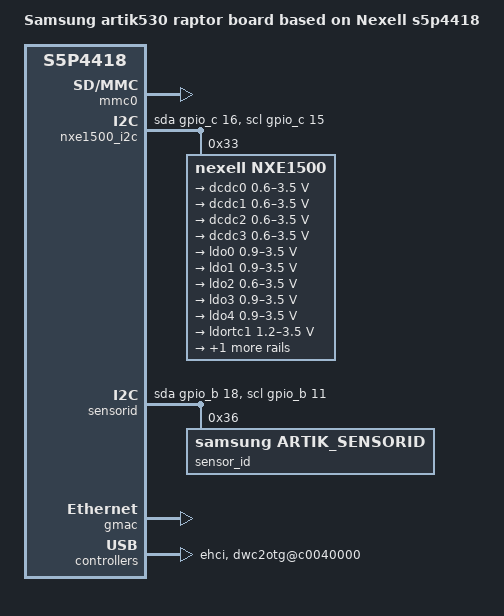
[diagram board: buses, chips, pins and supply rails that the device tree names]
/*
 * (C) Copyright 2016 Nexell
 * Hyunseok, Jung <hsjung@nexell.co.kr>
 *
 * SPDX-License-Identifier:      GPL-2.0+
 */

#include "s5p4418-artik530.dtsi"

/ {
	model = "Samsung artik530 raptor board based on Nexell s5p4418";
	cpu-model = "S5p4418";

	compatible = "samsung,artik530-raptor", "samsung,artik530",
		   "nexell,s5p4418";

	mmc0:mmc@c0062000 {
		frequency = <50000000>;
		nexell,drive_dly = <0x0>;
		nexell,drive_shift = <0x03>;
		nexell,sample_dly = <0x00>;
		nexell,sample_shift = <0x02>;
		status = "okay";
	};

	nxe1500_i2c:i2c@1 {
		compatible = "i2c-gpio";
		#address-cells = <1>;
		#size-cells = <0>;
		gpios = <&gpio_c 16 0>,	/* SDA */
		      <&gpio_c 15 0>;	/* SCL */
		i2c-gpio,delay-us = <3>;
		status ="okay";

		nxe1500@33 {
			compatible = "nexell,nxe1500";
			reg = <0x33>;

			voltage-regulators {
				dcdc0: BUCK0 {
					regulator-name = "dcdc1";
					regulator-min-microvolt = <600000>;
					regulator-max-microvolt = <3500000>;
					regulator-always-on = <1>;
					regulator-boot-on = <1>;
				};

				dcdc1: BUCK1 {
					regulator-name = "dcdc2";
					regulator-min-microvolt = <600000>;
					regulator-max-microvolt = <3500000>;
					regulator-always-on = <1>;
					regulator-boot-on = <1>;
				};

				dcdc2: BUCK2 {
					regulator-name = "dcdc3";
					regulator-min-microvolt = <600000>;
					regulator-max-microvolt = <3500000>;
					regulator-always-on = <1>;
					regulator-boot-on = <1>;
				};

				dcdc3: BUCK3 {
					regulator-name = "dcdc4";
					regulator-min-microvolt = <600000>;
					regulator-max-microvolt = <3500000>;
					regulator-always-on = <1>;
					regulator-boot-on = <1>;
				};

				ldo0: LDO0 {
					regulator-min-microvolt = <900000>;
					regulator-max-microvolt = <3500000>;
					regulator-name = "ldo1";
				};

				ldo1: LDO1 {
					regulator-min-microvolt = <900000>;
					regulator-max-microvolt = <3500000>;
					regulator-name = "ldo2";
				};

				ldo2: LDO2 {
					regulator-min-microvolt = <600000>;
					regulator-max-microvolt = <3500000>;
					regulator-name = "ldo3";
				};

				ldo3: LDO3 {
					regulator-min-microvolt = <900000>;
					regulator-max-microvolt = <3500000>;
					regulator-name = "ldo4";
				};

				ldo4: LDO4 {
					regulator-min-microvolt = <900000>;
					regulator-max-microvolt = <3500000>;
					regulator-name = "ldo5";
				};

				ldortc1: LDO10 {
					regulator-min-microvolt = <1200000>;
					regulator-max-microvolt = <3500000>;
					regulator-name = "ldortc1";
					regulator-always-on = <1>;
					regulator-boot-on = <1>;
				};

				ldortc2: LDO11 {
					regulator-min-microvolt = <900000>;
					regulator-max-microvolt = <3500000>;
					regulator-name = "ldortc2";
					regulator-always-on = <1>;
					regulator-boot-on = <1>;
				};
			}; /* voltage-regulators */
		}; /* nxe1500@32 */
	}; /* nxe1500_i2c */

	sensorid:i2c_gpio@2 {
		compatible = "i2c-gpio";
		#address-cells = <1>;
		#size-cells = <0>;
		gpios = <&gpio_b 18 1>,
			<&gpio_b 11 1>;
		i2c-gpio,delay-us = <12>;
		sensor_id@36 {
			compatible = "samsung,artik_sensorid";
			reg = <0x36>;
		};
	};

	gmac:ethernet@c0060000 {
		mac-address = [000000000000]; /* Filled in by U-Boot */
		status = "okay";
	};

	ehci:usbhost@c0030000 {
		samsung,vbus-gpio = <&gpio_a 16 0>;
		status = "okay";
	};

	dwc2otg@c0040000 {
		status = "okay";
	};

};
